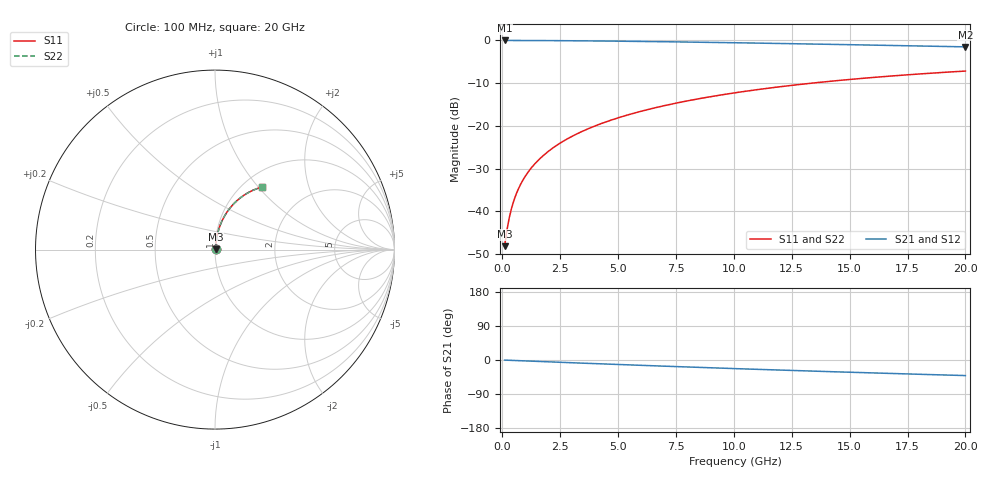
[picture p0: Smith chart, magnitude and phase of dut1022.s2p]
! Touchstone file exported from HFSS 2024.1.0
!  File:  C:/UserFiles/LocalFiles/RDL_TSV_Batchsim/temp_RDL_top_1022_1780043236.aedt
!  Generated:  04:29:44 PM May 29, 2026
!  Design:  RDL_top
!  Project:  temp_RDL_top_1022_1780043236
!  Setup:  Setup1
!  Solution:  Sweep
! Variables:
!  dtsv = 10.80580581um
!  hbump = 3um
!  htsv = 78.62um
!  ldown = 100um
!  lrdl = 549.37um
!  p = 40
!  p1 = 49.91um
!  rhole = 1um
!  t = 450um
!  tdown = 3.915915916um
!  trdl = 4.99um
!  wdown = 15.38538539um
!  wrdl = 13.79um
# GHz S MA R 50.000000
! Terminal data exported
! Port[1] = Box2_T1
! Port[2] = Box2_T2
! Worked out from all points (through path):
!   200 points, 100 MHz to 20 GHz, reference 50 ohm
!   highest |S21| = -0.03 dB at 100 MHz (marker M1); lowest = -1.5 dB at 20 GHz (marker M2)
!   group delay of S21, straight-line fit = 5.69 ps
!   lowest |S11| = -48.2 dB at 100 MHz (marker M3), VSWR 1.01, Z = 50.3 + j0.262 ohm
!   |S11| at or under -10 dB: start of sweep to 13.4 GHz
!   |S22| runs from -48.2 to -7.2 dB; largest |S21 - S12| = 2.7e-15
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0.1  0.003904 41.9  0.9971 -0.3  0.9971 -0.3  0.003904 41.9
! Gamma 0 0 0 0
! Port Impedance 50 0 50 0
0.2  0.005994 60.4  0.997 -0.5  0.997 -0.5  0.005994 60.4
0.3  0.008379 68.7  0.9969 -0.7  0.9969 -0.7  0.008379 68.7
0.4  0.01086 73.0  0.9967 -1.0  0.9967 -1.0  0.01086 73.0
0.5  0.01336 75.7  0.9966 -1.2  0.9966 -1.2  0.01336 75.7
0.6  0.01588 77.3  0.9965 -1.5  0.9965 -1.5  0.01588 77.4
0.8  0.02089 79.4  0.9961 -2.0  0.9961 -2.0  0.02089 79.4
1.1  0.02835 80.8  0.9956 -2.7  0.9956 -2.7  0.02836 80.8
1.5  0.03823 81.7  0.9947 -3.7  0.9947 -3.7  0.03823 81.6
1.8  0.0456 81.9  0.9939 -4.4  0.9939 -4.4  0.04561 81.9
2.1  0.05297 81.9  0.9929 -5.1  0.9929 -5.1  0.05297 81.9
2.7  0.06768 81.7  0.9907 -6.5  0.9907 -6.5  0.06768 81.7
3.5  0.08728 81.0  0.9869 -8.4  0.9869 -8.4  0.08728 81.0
4.2  0.1044 80.1  0.9831 -10.0  0.9831 -10.0  0.1044 80.1
5  0.1239 79.0  0.9781 -11.9  0.9781 -11.9  0.1239 79.0
5.9  0.1457 77.6  0.9719 -13.9  0.9719 -13.9  0.1457 77.6
6.8  0.1674 76.1  0.9652 -15.9  0.9652 -15.9  0.1674 76.1
8.4  0.2053 73.3  0.9521 -19.3  0.9521 -19.3  0.2053 73.3
10.1  0.2445 70.3  0.9371 -22.8  0.9371 -22.8  0.2445 70.3
13.4  0.3163 64.3  0.9057 -29.3  0.9057 -29.3  0.3162 64.3
16.7  0.3808 58.5  0.8726 -35.4  0.8726 -35.4  0.3807 58.5
20  0.4372 53.0  0.8393 -41.1  0.8393 -41.1  0.4371 52.9
